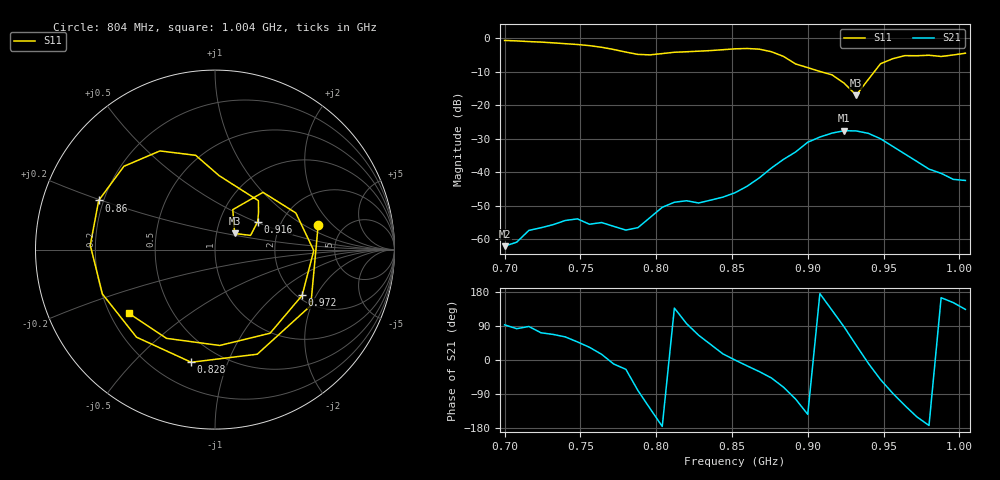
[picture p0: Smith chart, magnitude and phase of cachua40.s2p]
# Hz S RI R 50
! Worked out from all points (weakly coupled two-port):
!   39 points, 700 MHz to 1.004 GHz, reference 50 ohm
!   highest |S21| = -27.61 dB at 924 MHz (marker M1); lowest = -62.1 dB at 700 MHz (marker M2)
!   lowest |S11| = -17.0 dB at 932 MHz (marker M3), VSWR 1.33, Z = 61.2 + j11.2 ohm
!   |S11| at or under -10 dB: 908.7 MHz to 943.9 MHz (35.2 MHz wide, 3.8 % of centre)
!   S12 and S22 are empty: the file has one direction only
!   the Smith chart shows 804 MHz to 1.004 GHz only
!   S11 on the Smith chart (normalised r, x): 804 MHz: 3.27, +1.36; 828 MHz: 0.35, -0.75; 860 MHz: 0.18, +0.20; 916 MHz: 1.52, +0.51; 972 MHz: 2.12, -1.55; 1.004 GHz: 0.28, -0.30
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7e8  0.7624 0.5281  -3.76e-05 0.000785  0 0  0 0
7.24e8  0.8354 -0.2671  0.000462 0.00141  0 0  0 0
7.4e8  0.4433 -0.7018  0.000921 0.00166  0 0  0 0
7.56e8  -0.1976 -0.7504  0.00139 0.000922  0 0  0 0
7.72e8  -0.6542 -0.1837  0.00153 -0.000287  0 0  0 0
7.8e8  -0.5757 0.2343  0.00124 -0.000569  0 0  0 0
7.88e8  -0.2189 0.5308  0.000237 -0.00147  0 0  0 0
7.96e8  0.2694 0.4967  -0.00131 -0.00165  0 0  0 0
8.04e8  0.5748 0.1359  -0.00298 -0.000243  0 0  0 0
8.2e8  0.2355 -0.5829  -0.000405 0.00373  0 0  0 0
8.28e8  -0.1328 -0.6276  0.00145 0.00315  0 0  0 0
8.52e8  -0.6949 0.0244  0.00493 -1.41e-06  0 0  0 0
8.6e8  -0.648 0.2739  0.00595 -0.00165  0 0  0 0
8.76e8  -0.3066 0.5497  0.00782 -0.00849  0 0  0 0
9.08e8  0.2426 0.2078  -0.0334 0.00284  0 0  0 0
9.16e8  0.238 0.1556  -0.0253 0.0288  0 0  0 0
9.24e8  0.1982 0.0791  0.00206 0.0416  0 0  0 0
9.32e8  0.1096 0.0897  0.0323 0.0258  0 0  0 0
9.56e8  0.4505 0.2041  0.00103 -0.0243  0 0  0 0
9.72e8  0.4855 -0.2548  -0.0126 -0.0072  0 0  0 0
9.88e8  0.0266 -0.5341  -0.00926 0.00259  0 0  0 0
1.004e9  -0.4819 -0.3539  -0.00519 0.00545  0 0  0 0
